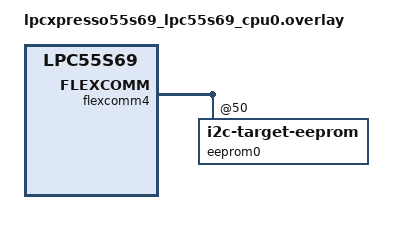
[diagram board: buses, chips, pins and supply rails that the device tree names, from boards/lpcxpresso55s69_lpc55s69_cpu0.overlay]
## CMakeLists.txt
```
# SPDX-License-Identifier: Apache-2.0

cmake_minimum_required(VERSION 3.20.0)

find_package(Zephyr REQUIRED HINTS $ENV{ZEPHYR_BASE})
project(i2c_target)

target_sources(app PRIVATE src/main.c)
```

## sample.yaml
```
sample:
  name: I2C target sample
tests:
  sample.drivers.i2c.target:
    tags: i2c_target
    filter: dt_nodelabel_enabled("target_eeprom")
    platform_allow:
      - lpcxpresso55s69/lpc55s69/cpu0
    harness: TBD
```

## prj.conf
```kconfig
CONFIG_I2C=y
CONFIG_I2C_TARGET=y
CONFIG_I2C_EEPROM_TARGET=y
```

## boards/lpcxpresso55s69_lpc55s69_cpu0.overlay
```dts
/*
 * Copyright (c) 2024 Open Pixel Systems
 *
 * SPDX-License-Identifier: Apache-2.0
 */

&flexcomm4 {
	status = "okay";

	eeprom0: eeprom@50 {
		reg = <0x50>;
		size = <256>;
		compatible = "zephyr,i2c-target-eeprom";
		status = "okay";
	};
};
```

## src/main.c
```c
/*
 * Copyright (c) 2024 Open Pixel Systems
 *
 * SPDX-License-Identifier: Apache-2.0
 */

#include <zephyr/kernel.h>
#include <zephyr/sys/printk.h>
#include <zephyr/drivers/i2c.h>
#include <zephyr/drivers/i2c/target/eeprom.h>

static const struct device *eeprom = DEVICE_DT_GET(DT_NODELABEL(eeprom0));

int main(void)
{
	printk("i2c target sample\n");

	if (!device_is_ready(eeprom)) {
		printk("eeprom device not ready\n");
		return 0;
	}

	if (i2c_target_driver_register(eeprom) < 0) {
		printk("Failed to register i2c target driver\n");
		return 0;
	}

	printk("i2c target driver registered\n");

	k_msleep(1000);

	if (i2c_target_driver_unregister(eeprom) < 0) {
		printk("Failed to unregister i2c target driver\n");
		return 0;
	}

	printk("i2c target driver unregistered\n");

	return 0;
}
```
